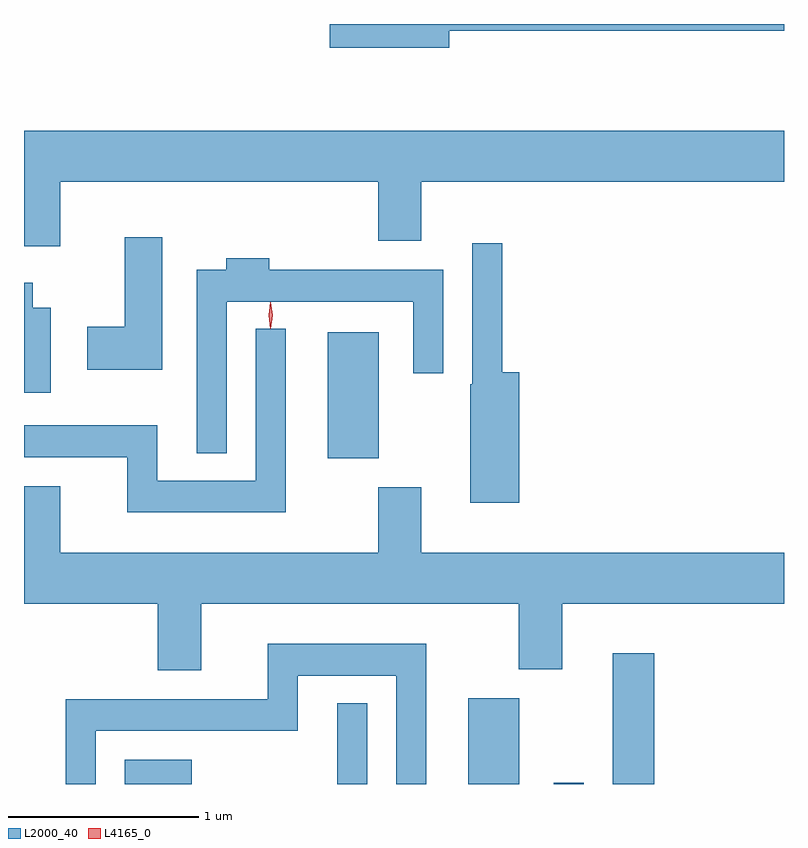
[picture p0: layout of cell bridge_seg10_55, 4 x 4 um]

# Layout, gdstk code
import gdstk
lib = gdstk.Library(unit=1e-6, precision=1e-09)
def R(c, l, rs):  # rectangles x0, y0, x1, y1
    for r in rs: c.add(gdstk.rectangle(r[:2], r[2:], *l))
def P(c, l, *ps):  # polygons
    for p in ps: c.add(gdstk.Polygon(p, *l))
L2000_40 = (2000, 40)
L4165_0 = (4165, 0)

bridge_seg10_55 = lib.new_cell('bridge_seg10_55')
R(bridge_seg10_55, L2000_40, [(1589.846,2161.807,1590.199,2161.934), (1590.966,2161.807,1591.124,2162.233), (1591.656,2161.807,1591.924,2162.259), (1592.106,2161.807,1592.264,2161.813), (1592.416,2161.807,1592.634,2162.494), (1590.916,2163.521,1591.184,2164.184)])
P(bridge_seg10_55, L2000_40, [(1591.554,2165.771),(1593.317,2165.771),(1593.317,2165.807),(1590.926,2165.807),(1590.926,2165.681),(1591.554,2165.681)],
  [(1589.509,2164.976),(1591.181,2164.976),(1591.181,2164.666),(1591.409,2164.666),(1591.409,2164.976),(1593.317,2164.976),(1593.317,2165.244),(1589.317,2165.244),(1589.317,2164.636),(1589.509,2164.636)],
  [(1590.044,2164.684),(1589.846,2164.684),(1589.846,2164.214),(1589.651,2164.214),(1589.651,2163.986),(1590.044,2163.986)],
  [(1591.924,2163.974),(1591.834,2163.974),(1591.834,2164.653),(1591.676,2164.653),(1591.676,2163.91),(1591.666,2163.91),(1591.666,2163.286),(1591.924,2163.286)],
  [(1590.384,2164.346),(1591.366,2164.346),(1591.366,2163.968),(1591.524,2163.968),(1591.524,2164.514),(1590.609,2164.514),(1590.609,2164.574),(1590.381,2164.574),(1590.381,2164.514),(1590.226,2164.514),(1590.226,2163.548),(1590.384,2163.548)],
  [(1589.459,2164.314),(1589.364,2164.314),(1589.364,2164.444),(1589.317,2164.444),(1589.317,2163.866),(1589.459,2163.866)],
  [(1590.694,2164.203),(1590.536,2164.203),(1590.536,2163.404),(1590.019,2163.404),(1590.019,2163.694),(1589.317,2163.694),(1589.317,2163.526),(1589.861,2163.526),(1589.861,2163.236),(1590.694,2163.236)],
  [(1590.249,2162.756),(1591.921,2162.756),(1591.921,2162.411),(1592.149,2162.411),(1592.149,2162.756),(1593.317,2162.756),(1593.317,2163.024),(1591.409,2163.024),(1591.409,2163.369),(1591.181,2163.369),(1591.181,2163.024),(1589.509,2163.024),(1589.509,2163.374),(1589.317,2163.374),(1589.317,2162.756),(1590.021,2162.756),(1590.021,2162.406),(1590.249,2162.406)],
  [(1589.694,2162.086),(1590.759,2162.086),(1590.759,2162.376),(1591.276,2162.376),(1591.276,2161.807),(1591.434,2161.807),(1591.434,2162.544),(1590.601,2162.544),(1590.601,2162.254),(1589.536,2162.254),(1589.536,2161.807),(1589.694,2161.807)])
P(bridge_seg10_55, L4165_0, [(1590.614,2164.204),(1590.605,2164.274),(1590.614,2164.343),(1590.615,2164.343),(1590.616,2164.343),(1590.625,2164.274),(1590.616,2164.204),(1590.615,2164.204)],
  [(1590.613,2164.207),(1590.604,2164.274),(1590.613,2164.34),(1590.614,2164.341),(1590.614,2164.34),(1590.624,2164.274),(1590.614,2164.207),(1590.614,2164.207)])

lib.write_gds('bridge_seg10_55.gds')
